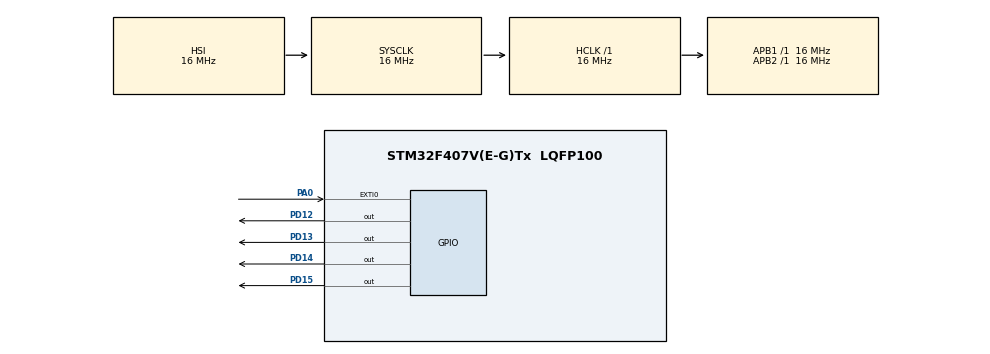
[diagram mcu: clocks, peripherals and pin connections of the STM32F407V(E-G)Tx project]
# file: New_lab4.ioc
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Mcu.Family=STM32F4
Mcu.Name=STM32F407V(E-G)Tx
Mcu.Package=LQFP100
NVIC.EXTI0_IRQn=true\:0\:0\:false\:false\:true\:true\:true\:true
NVIC.PriorityGroup=NVIC_PRIORITYGROUP_4
NVIC.TIM2_IRQn=true\:0\:0\:false\:false\:true\:true\:true\:true
NVIC.TIM3_IRQn=true\:0\:0\:false\:false\:true\:true\:true\:true
NVIC.TIM4_IRQn=true\:0\:0\:false\:false\:true\:true\:true\:true
NVIC.TIM5_IRQn=true\:0\:0\:false\:false\:true\:true\:true\:true
PA0-WKUP.Signal=GPXTI0
PD12.Signal=GPIO_Output
PD13.Signal=GPIO_Output
PD14.Signal=GPIO_Output
PD15.Signal=GPIO_Output
ProjectManager.HeapSize=0x200
ProjectManager.StackSize=0x400
ProjectManager.TargetToolchain=STM32CubeIDE
RCC.AHBFreq_Value=16000000
RCC.APB1Freq_Value=16000000
RCC.APB2Freq_Value=16000000
RCC.CortexFreq_Value=16000000
RCC.HSE_VALUE=25000000
RCC.HSI_VALUE=16000000
RCC.LSE_VALUE=32768
RCC.SYSCLKFreq_VALUE=16000000
RCC.VCOOutputFreq_Value=192000000
TIM2.Period=100
TIM2.Prescaler=15999
TIM3.Period=100
TIM3.Prescaler=15999
TIM4.Period=100
TIM4.Prescaler=15999
TIM5.Period=100
TIM5.Prescaler=15999
VP_TIM2_VS_ClockSourceINT.Mode=Internal
VP_TIM3_VS_ClockSourceINT.Mode=Internal
VP_TIM4_VS_ClockSourceINT.Mode=Internal
VP_TIM5_VS_ClockSourceINT.Mode=Internal
board=custom

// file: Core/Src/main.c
/* USER CODE BEGIN Header */
/**
  ******************************************************************************
  * @file           : main.c
  * @brief          : Main program body
  ******************************************************************************
  * @attention
  *
  * Copyright (c) 2024 STMicroelectronics.
  * All rights reserved.
  *
  * This software is licensed under terms that can be found in the LICENSE file
  * in the root directory of this software component.
  * If no LICENSE file comes with this software, it is provided AS-IS.
  *
  ******************************************************************************
  */
/* USER CODE END Header */
#include "main.h"

/* USER CODE BEGIN Includes */
#include "stm32f4xx_it.h"
#include <math.h>
/* USER CODE END Includes */

/* USER CODE BEGIN PTD */
int ledIndex = 0;
/* USER CODE END PTD */

 TIM_HandleTypeDef htim2;
TIM_HandleTypeDef htim3;
TIM_HandleTypeDef htim4;
TIM_HandleTypeDef htim5;

/* USER CODE BEGIN PV */
int arrayOfDelay[4] = {100, 200, 300, 400};
int count = 0;
/* USER CODE END PV */

void SystemClock_Config(void);
static void MX_GPIO_Init(void);
static void MX_TIM2_Init(void);
static void MX_TIM3_Init(void);
static void MX_TIM4_Init(void);
static void MX_TIM5_Init(void);

int main(void)
{

  /* MCU Configuration--------------------------------------------------------*/

  /* Reset of all peripherals, Initializes the Flash interface and the Systick. */
  HAL_Init();

  /* Configure the system clock */
  SystemClock_Config();

  /* Initialize all configured peripherals */
  MX_GPIO_Init();
  MX_TIM2_Init();
  MX_TIM3_Init();
  MX_TIM4_Init();
  MX_TIM5_Init();
  /* USER CODE BEGIN 2 */

  HAL_TIM_Base_Start_IT(&htim2);
  HAL_TIM_Base_Start_IT(&htim3);
  HAL_TIM_Base_Start_IT(&htim4);
  HAL_TIM_Base_Start_IT(&htim5);

  /* USER CODE END 2 */

  /* Infinite loop */
  while (1)
  {

  }
}

void SystemClock_Config(void)
{
  RCC_OscInitTypeDef RCC_OscInitStruct = {0};
  RCC_ClkInitTypeDef RCC_ClkInitStruct = {0};

  /** Configure the main internal regulator output voltage
  */
  __HAL_RCC_PWR_CLK_ENABLE();
  __HAL_PWR_VOLTAGESCALING_CONFIG(PWR_REGULATOR_VOLTAGE_SCALE1);

  /** Initializes the RCC Oscillators according to the specified parameters
  * in the RCC_OscInitTypeDef structure.
  */
  RCC_OscInitStruct.OscillatorType = RCC_OSCILLATORTYPE_HSI;
  RCC_OscInitStruct.HSIState = RCC_HSI_ON;
  RCC_OscInitStruct.HSICalibrationValue = RCC_HSICALIBRATION_DEFAULT;
  RCC_OscInitStruct.PLL.PLLState = RCC_PLL_NONE;
  if (HAL_RCC_OscConfig(&RCC_OscInitStruct) != HAL_OK)
  {
    Error_Handler();
  }

  /** Initializes the CPU, AHB and APB buses clocks
  */
  RCC_ClkInitStruct.ClockType = RCC_CLOCKTYPE_HCLK|RCC_CLOCKTYPE_SYSCLK
                              |RCC_CLOCKTYPE_PCLK1|RCC_CLOCKTYPE_PCLK2;
  RCC_ClkInitStruct.SYSCLKSource = RCC_SYSCLKSOURCE_HSI;
  RCC_ClkInitStruct.AHBCLKDivider = RCC_SYSCLK_DIV1;
  RCC_ClkInitStruct.APB1CLKDivider = RCC_HCLK_DIV1;
  RCC_ClkInitStruct.APB2CLKDivider = RCC_HCLK_DIV1;

  if (HAL_RCC_ClockConfig(&RCC_ClkInitStruct, FLASH_LATENCY_0) != HAL_OK)
  {
    Error_Handler();
  }
}

static void MX_TIM2_Init(void)
{
  TIM_ClockConfigTypeDef sClockSourceConfig = {0};
  TIM_MasterConfigTypeDef sMasterConfig = {0};

  htim2.Instance = TIM2;
  htim2.Init.Prescaler = 15999;
  htim2.Init.CounterMode = TIM_COUNTERMODE_UP;
  htim2.Init.Period = arrayOfDelay[0];
  htim2.Init.ClockDivision = TIM_CLOCKDIVISION_DIV1;
  htim2.Init.AutoReloadPreload = TIM_AUTORELOAD_PRELOAD_DISABLE;
  if (HAL_TIM_Base_Init(&htim2) != HAL_OK)
  {
    Error_Handler();
  }
  sClockSourceConfig.ClockSource = TIM_CLOCKSOURCE_INTERNAL;
  if (HAL_TIM_ConfigClockSource(&htim2, &sClockSourceConfig) != HAL_OK)
  {
    Error_Handler();
  }
  sMasterConfig.MasterOutputTrigger = TIM_TRGO_RESET;
  sMasterConfig.MasterSlaveMode = TIM_MASTERSLAVEMODE_DISABLE;
  if (HAL_TIMEx_MasterConfigSynchronization(&htim2, &sMasterConfig) != HAL_OK)
  {
    Error_Handler();
  }
}

static void MX_TIM3_Init(void)
{
  TIM_ClockConfigTypeDef sClockSourceConfig = {0};
  TIM_MasterConfigTypeDef sMasterConfig = {0};

  htim3.Instance = TIM3;
  htim3.Init.Prescaler = 15999;
  htim3.Init.CounterMode = TIM_COUNTERMODE_UP;
  htim3.Init.Period = arrayOfDelay[1];
  htim3.Init.ClockDivision = TIM_CLOCKDIVISION_DIV1;
  htim3.Init.AutoReloadPreload = TIM_AUTORELOAD_PRELOAD_DISABLE;
  if (HAL_TIM_Base_Init(&htim3) != HAL_OK)
  {
    Error_Handler();
  }
  sClockSourceConfig.ClockSource = TIM_CLOCKSOURCE_INTERNAL;
  if (HAL_TIM_ConfigClockSource(&htim3, &sClockSourceConfig) != HAL_OK)
  {
    Error_Handler();
  }
  sMasterConfig.MasterOutputTrigger = TIM_TRGO_RESET;
  sMasterConfig.MasterSlaveMode = TIM_MASTERSLAVEMODE_DISABLE;
  if (HAL_TIMEx_MasterConfigSynchronization(&htim3, &sMasterConfig) != HAL_OK)
  {
    Error_Handler();
  }
}

static void MX_TIM4_Init(void)
{
  TIM_ClockConfigTypeDef sClockSourceConfig = {0};
  TIM_MasterConfigTypeDef sMasterConfig = {0};

  htim4.Instance = TIM4;
  htim4.Init.Prescaler = 15999;
  htim4.Init.CounterMode = TIM_COUNTERMODE_UP;
  htim4.Init.Period = arrayOfDelay[2];
  htim4.Init.ClockDivision = TIM_CLOCKDIVISION_DIV1;
  htim4.Init.AutoReloadPreload = TIM_AUTORELOAD_PRELOAD_DISABLE;
  if (HAL_TIM_Base_Init(&htim4) != HAL_OK)
  {
    Error_Handler();
  }
  sClockSourceConfig.ClockSource = TIM_CLOCKSOURCE_INTERNAL;
  if (HAL_TIM_ConfigClockSource(&htim4, &sClockSourceConfig) != HAL_OK)
  {
    Error_Handler();
  }
  sMasterConfig.MasterOutputTrigger = TIM_TRGO_RESET;
  sMasterConfig.MasterSlaveMode = TIM_MASTERSLAVEMODE_DISABLE;
  if (HAL_TIMEx_MasterConfigSynchronization(&htim4, &sMasterConfig) != HAL_OK)
  {
    Error_Handler();
  }
}

static void MX_TIM5_Init(void)
{
  TIM_ClockConfigTypeDef sClockSourceConfig = {0};
  TIM_MasterConfigTypeDef sMasterConfig = {0};

  htim5.Instance = TIM5;
  htim5.Init.Prescaler = 15999;
  htim5.Init.CounterMode = TIM_COUNTERMODE_UP;
  htim5.Init.Period = arrayOfDelay[3];
  htim5.Init.ClockDivision = TIM_CLOCKDIVISION_DIV1;
  htim5.Init.AutoReloadPreload = TIM_AUTORELOAD_PRELOAD_DISABLE;
  if (HAL_TIM_Base_Init(&htim5) != HAL_OK)
  {
    Error_Handler();
  }
  sClockSourceConfig.ClockSource = TIM_CLOCKSOURCE_INTERNAL;
  if (HAL_TIM_ConfigClockSource(&htim5, &sClockSourceConfig) != HAL_OK)
  {
    Error_Handler();
  }
  sMasterConfig.MasterOutputTrigger = TIM_TRGO_RESET;
  sMasterConfig.MasterSlaveMode = TIM_MASTERSLAVEMODE_DISABLE;
  if (HAL_TIMEx_MasterConfigSynchronization(&htim5, &sMasterConfig) != HAL_OK)
  {
    Error_Handler();
  }
}

static void MX_GPIO_Init(void)
{
  GPIO_InitTypeDef GPIO_InitStruct = {0};

  /* GPIO Ports Clock Enable */
  __HAL_RCC_GPIOD_CLK_ENABLE();
  __HAL_RCC_GPIOA_CLK_ENABLE();

  /*Configure GPIO pin Output Level */
  HAL_GPIO_WritePin(GPIOD, GPIO_PIN_12|GPIO_PIN_13|GPIO_PIN_14|GPIO_PIN_15, GPIO_PIN_RESET);

  /*Configure GPIO pins : PD12 PD13 PD14 PD15 */
  GPIO_InitStruct.Pin = GPIO_PIN_12|GPIO_PIN_13|GPIO_PIN_14|GPIO_PIN_15;
  GPIO_InitStruct.Mode = GPIO_MODE_OUTPUT_PP;
  GPIO_InitStruct.Pull = GPIO_NOPULL;
  GPIO_InitStruct.Speed = GPIO_SPEED_FREQ_LOW;
  HAL_GPIO_Init(GPIOD, &GPIO_InitStruct);

  /*Configure GPIO pin : PA0 */
  GPIO_InitStruct.Pin = GPIO_PIN_0;
  GPIO_InitStruct.Mode = GPIO_MODE_IT_RISING;
  GPIO_InitStruct.Pull = GPIO_NOPULL;
  HAL_GPIO_Init(GPIOA, &GPIO_InitStruct);

  /* EXTI interrupt init*/
  HAL_NVIC_SetPriority(EXTI0_IRQn, 0, 0);
  HAL_NVIC_EnableIRQ(EXTI0_IRQn);
}

/* USER CODE BEGIN 4 */
void HAL_TIM_PeriodElapsedCallback(TIM_HandleTypeDef *htim)
{
  if (htim->Instance == TIM2)
  {
    HAL_GPIO_TogglePin(GPIOD, GPIO_PIN_12);
  }
  else if (htim->Instance == TIM3)
  {
    HAL_GPIO_TogglePin(GPIOD, GPIO_PIN_13);
  }
  else if (htim->Instance == TIM4)
  {
    HAL_GPIO_TogglePin(GPIOD, GPIO_PIN_14);
  }
  else if (htim->Instance == TIM5)
  {
    HAL_GPIO_TogglePin(GPIOD, GPIO_PIN_15);
  }
}

void EXTI0_IRQHandler(void)
{
  HAL_GPIO_EXTI_IRQHandler(GPIO_PIN_0);

  // Handle EXTI line0 interrupt here
  if (HAL_GPIO_ReadPin(GPIOA, GPIO_PIN_0) == GPIO_PIN_SET) // Check if the button is pressed
  {
    // Toggle LED for visual indication of button press
    HAL_GPIO_TogglePin(GPIOD, GPIO_PIN_12 | GPIO_PIN_13 | GPIO_PIN_14 | GPIO_PIN_15);

    // Shift the delay array
    int temp = arrayOfDelay[0];
    arrayOfDelay[0] = arrayOfDelay[1];
    arrayOfDelay[1] = arrayOfDelay[2];
    arrayOfDelay[2] = arrayOfDelay[3];
    arrayOfDelay[3] = temp;

    // Update the TIM2-5 periods with new delays
    htim2.Init.Period = arrayOfDelay[0];
    HAL_TIM_Base_Init(&htim2);
    htim3.Init.Period = arrayOfDelay[1];
    HAL_TIM_Base_Init(&htim3);
    htim4.Init.Period = arrayOfDelay[2];
    HAL_TIM_Base_Init(&htim4);
    htim5.Init.Period = arrayOfDelay[3];
    HAL_TIM_Base_Init(&htim5);
  }
}

/* USER CODE END 4 */

void Error_Handler(void)
{
  while(1)
  {
  }
}
